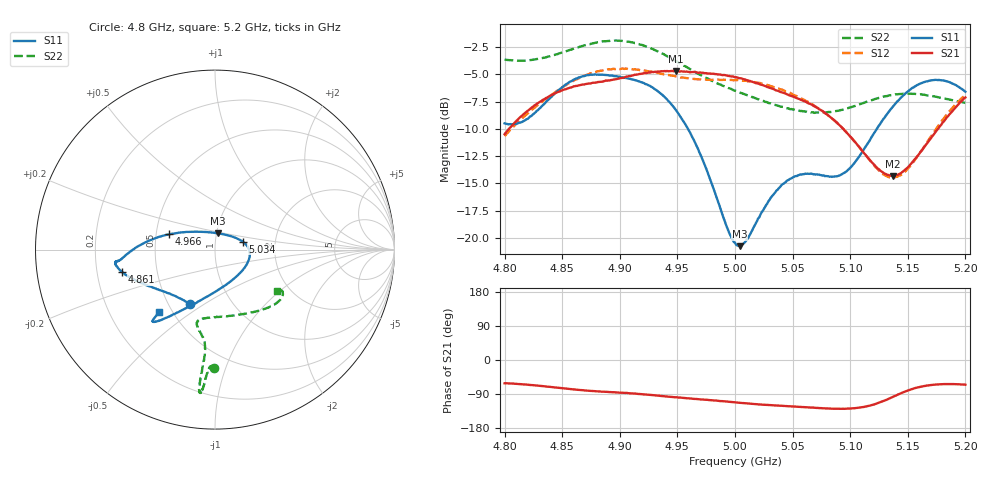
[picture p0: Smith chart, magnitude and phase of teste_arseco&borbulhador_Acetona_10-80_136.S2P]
! Network Analyzer HP8722D
! Hewlett-Packard
! Data name: Linha & Wilkinson
! Saver's name: Rodrigo Anjos
! Comments: Teste da utilização de aquisição
! continua pelo VNA HP8722D
! Time and date: 17/4/2025 15:29
!  Frequency  S11  S21  S12  S22
# HZ  S  MA R 50
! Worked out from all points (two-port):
!   401 points, 4.8 GHz to 5.2 GHz, reference 50 ohm
!   highest |S21| = -4.69 dB at 4.949 GHz (marker M1); lowest = -14.3 dB at 5.137 GHz (marker M2)
!   |S21| within 3 dB of the highest: 4.828 GHz to 5.064 GHz (236.2 MHz wide, 4.78 % of centre); 5.194445 GHz to end of sweep
!   lowest |S11| = -20.7 dB at 5.004 GHz (marker M3), VSWR 1.20, Z = 50.6 + j9.25 ohm
!   |S11| at or under -10 dB: 4.959 GHz to 5.123 GHz (163.9 MHz wide, 3.25 % of centre)
!   |S22| runs from -8.5 to -1.9 dB; largest |S21 - S12| = 0.88
!   S11 on the Smith chart (normalised r, x): 4.8 GHz: 0.64, -0.44; 4.861 GHz: 0.31, -0.11; 4.966 GHz: 0.59, +0.11; 5.034 GHz: 1.36, +0.12; 5.2 GHz: 0.42, -0.38
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4.8e9  0.335 -114.6  0.2991 -61.4  0.2931 -175.5  0.6571 -90.6
4.819e9  0.35 -134.6  0.3786 -65.0  0.3675 -174.5  0.6518 -92.2
4.861e9  0.5342 -166.6  0.4956 -78.0  0.5298 -177.9  0.7391 -94.5
4.867e9  0.5491 -169.1  0.5039 -79.6  0.5477 -178.9  0.7571 -94.6
4.898e9  0.5496 -173.3  0.5363 -85.7  0.5948 175.0  0.8022 -95.9
4.934e9  0.4665 -179.2  0.5781 -94.3  0.57 171.2  0.7102 -96.4
4.949e9  0.3843 173.6  0.583 -98.3  0.5495 171.4  0.6456 -96.1
4.966e9  0.2686 161.5  0.5755 -102.7  0.5343 173.1  0.573 -95.5
5e9  0.09507 96.0  0.5453 -111.7  0.5298 175.5  0.4733 -99.6
5.004e9  0.09173 80.9  0.5394 -112.8  0.5275 175.2  0.4645 -100.4
5.011e9  0.09913 57.1  0.5281 -114.8  0.5218 175.3  0.4508 -102.0
5.034e9  0.1597 16.3  0.48 -119.9  0.4907 174.1  0.408 -103.6
5.05e9  0.189 0.6  0.4456 -122.5  0.4542 173.5  0.388 -99.2
5.067e9  0.1967 -17.7  0.4076 -125.4  0.4099 173.1  0.377 -89.9
5.086e9  0.1912 -48.0  0.3469 -128.6  0.3466 173.1  0.38 -75.3
5.097e9  0.2022 -70.1  0.3037 -128.5  0.3041 174.7  0.392 -66.4
5.122e9  0.3096 -108.7  0.2133 -116.0  0.2109 -170.6  0.4338 -49.2
5.134e9  0.3818 -118.3  0.1935 -101.5  0.1897 -154.4  0.4503 -43.1
5.137e9  0.3993 -120.1  0.1925 -97.4  0.1892 -149.6  0.4531 -41.8
5.15e9  0.4688 -125.7  0.2106 -80.6  0.2077 -130.3  0.4582 -37.1
5.17e9  0.5272 -130.2  0.2859 -66.1  0.2914 -112.3  0.4477 -32.5
5.2e9  0.4677 -131.6  0.4403 -65.3  0.4533 -107.4  0.4156 -33.9
